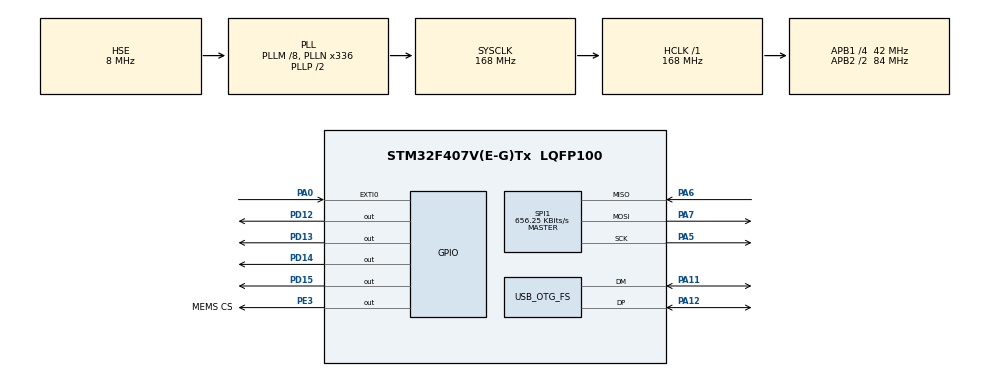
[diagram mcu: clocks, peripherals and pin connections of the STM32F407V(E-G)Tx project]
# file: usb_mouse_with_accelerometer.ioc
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Mcu.Family=STM32F4
Mcu.Name=STM32F407V(E-G)Tx
Mcu.Package=LQFP100
NVIC.EXTI0_IRQn=true\:0\:0\:false\:false\:true\:true\:true\:true
NVIC.OTG_FS_IRQn=true\:0\:0\:false\:false\:true\:false\:true\:true
NVIC.PriorityGroup=NVIC_PRIORITYGROUP_0
PA0-WKUP.Signal=GPXTI0
PA11.Mode=Device_Only
PA11.Signal=USB_OTG_FS_DM
PA12.Mode=Device_Only
PA12.Signal=USB_OTG_FS_DP
PA13.Mode=Serial_Wire
PA13.Signal=SYS_JTMS-SWDIO
PA14.Mode=Serial_Wire
PA14.Signal=SYS_JTCK-SWCLK
PA5.Mode=Full_Duplex_Master
PA5.Signal=SPI1_SCK
PA6.Mode=Full_Duplex_Master
PA6.Signal=SPI1_MISO
PA7.Mode=Full_Duplex_Master
PA7.Signal=SPI1_MOSI
PC14-OSC32_IN.Mode=LSE-External-Oscillator
PC14-OSC32_IN.Signal=RCC_OSC32_IN
PC15-OSC32_OUT.Mode=LSE-External-Oscillator
PC15-OSC32_OUT.Signal=RCC_OSC32_OUT
PD12.Signal=GPIO_Output
PD13.Signal=GPIO_Output
PD14.Signal=GPIO_Output
PD15.Signal=GPIO_Output
PE3.GPIO_Label=MEMS CS
PE3.Signal=GPIO_Output
PH0-OSC_IN.Mode=HSE-External-Oscillator
PH0-OSC_IN.Signal=RCC_OSC_IN
PH1-OSC_OUT.Mode=HSE-External-Oscillator
PH1-OSC_OUT.Signal=RCC_OSC_OUT
ProjectManager.HeapSize=0x200
ProjectManager.StackSize=0x400
ProjectManager.TargetToolchain=STM32CubeIDE
RCC.48MHZClocksFreq_Value=48000000
RCC.AHBFreq_Value=168000000
RCC.APB1CLKDivider=RCC_HCLK_DIV4
RCC.APB1Freq_Value=42000000
RCC.APB1TimFreq_Value=84000000
RCC.APB2CLKDivider=RCC_HCLK_DIV2
RCC.APB2Freq_Value=84000000
RCC.APB2TimFreq_Value=168000000
RCC.CortexFreq_Value=168000000
RCC.HCLKFreq_Value=168000000
RCC.HSE_VALUE=8000000
RCC.HSI_VALUE=16000000
RCC.PLLM=8
RCC.PLLN=336
RCC.PLLQ=7
RCC.SYSCLKFreq_VALUE=168000000
RCC.SYSCLKSource=RCC_SYSCLKSOURCE_PLLCLK
RCC.VCOOutputFreq_Value=336000000
SPI1.BaudRatePrescaler=SPI_BAUDRATEPRESCALER_128
SPI1.CalculateBaudRate=656.25 KBits/s
SPI1.Direction=SPI_DIRECTION_2LINES
SPI1.Mode=SPI_MODE_MASTER
SPI1.VirtualType=VM_MASTER
USB_DEVICE.CLASS_NAME_FS=HID
USB_DEVICE.PRODUCT_STRING_HID_FS=STM32 Mouse
USB_DEVICE.VirtualMode-HID_FS=Hid
USB_DEVICE.VirtualModeFS=Hid_FS
USB_OTG_FS.VirtualMode=Device_Only
VP_USB_DEVICE_VS_USB_DEVICE_HID_FS.Mode=HID_FS
board=STM32F407G-DISC1

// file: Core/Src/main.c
/* USER CODE BEGIN Header */
/**
  ******************************************************************************
  * @file           : main.c
  * @brief          : Main program body
  ******************************************************************************
  * @attention
  *
  * Copyright (c) 2024 STMicroelectronics.
  * All rights reserved.
  *
  * This software is licensed under terms that can be found in the LICENSE file
  * in the root directory of this software component.
  * If no LICENSE file comes with this software, it is provided AS-IS.
  *
  ******************************************************************************
  */
/* USER CODE END Header */
#include "main.h"
#include "usb_device.h"

/* USER CODE BEGIN Includes */
#include "MY_LIS3DSH.h"
#include "usbd_hid.h"
/* USER CODE END Includes */

SPI_HandleTypeDef hspi1;

/* USER CODE BEGIN PV */
LIS3DSH_DataScaled myAccData;
LIS3DSH_DataRaw myAccRawData;
int button_flag = 0;

extern USBD_HandleTypeDef hUsbDeviceFS;

typedef struct{
	uint8_t button;
	int8_t x;
	int8_t y;
	int8_t wheel;
} mouseHID;

mouseHID mousehid = {0,0,0,0};
int16_t min_xval = 128;
int16_t max_xval = -128;
int16_t min_yval = 128;
int16_t max_yval = -128;

int16_t newxval = 0;
int16_t newyval = 0;
/* USER CODE END PV */

void SystemClock_Config(void);
static void MX_GPIO_Init(void);
static void MX_SPI1_Init(void);

/* USER CODE BEGIN 0 */

//This function basically calculates the drift of IMU in x and y direction
void IMU_Calibrate (void)
{
	for (int i=0; i<50;)
	{
		if(LIS3DSH_PollDRDY(1000) == true){
			myAccRawData = LIS3DSH_GetDataRaw();
			min_xval = MIN(min_xval, myAccRawData.x);
			max_xval = MAX(max_xval, myAccRawData.x);
			min_yval = MIN(min_yval, myAccRawData.y);
			max_yval = MAX(max_yval, myAccRawData.y);
			HAL_Delay (10);
			i++;
		}
	}
	//Glow all leds to indicate calibration done
	HAL_GPIO_WritePin(GPIOD, GPIO_PIN_12, GPIO_PIN_SET);
	HAL_GPIO_WritePin(GPIOD, GPIO_PIN_13, GPIO_PIN_SET);
	HAL_GPIO_WritePin(GPIOD, GPIO_PIN_14, GPIO_PIN_SET);
	HAL_GPIO_WritePin(GPIOD, GPIO_PIN_15, GPIO_PIN_SET);
}
/* USER CODE END 0 */

int main(void)
{

  /* USER CODE BEGIN 1 */
	LIS3DSH_InitTypeDef myAccConfig;

  /* USER CODE END 1 */

  /* MCU Configuration--------------------------------------------------------*/

  /* Reset of all peripherals, Initializes the Flash interface and the Systick. */
  HAL_Init();

  /* Configure the system clock */
  SystemClock_Config();

  /* Initialize all configured peripherals */
  MX_GPIO_Init();
  MX_SPI1_Init();
  MX_USB_DEVICE_Init();
  /* USER CODE BEGIN 2 */
  myAccConfig.enableAxes = LIS3DSH_XYZ_ENABLE;
  myAccConfig.interruptEnable = true;
  myAccConfig.dataRate = LIS3DSH_DATARATE_12_5;
  myAccConfig.fullScale = LIS3DSH_FULLSCALE_2;
  myAccConfig.antiAliasingBW = LIS3DSH_FILTER_BW_50;
  LIS3DSH_Init(&hspi1,&myAccConfig);

  IMU_Calibrate();
  /* USER CODE END 2 */

  /* Infinite loop */
  while (1)
  {

    /* USER CODE BEGIN 3 */
	  if(LIS3DSH_PollDRDY(1000) == true){

		  myAccRawData = LIS3DSH_GetDataRaw();//Get the data from IMU

		  //check if outside drift range then eliminate the drift and store new value back in struct
		  if (myAccRawData.x < min_xval)
		   {
		     newxval = myAccRawData.x - min_xval;
		   }

		  else if (myAccRawData.x > max_xval)
		   {
		     newxval = myAccRawData.x - max_xval;
		   }

		  if (myAccRawData.y < min_yval)
		  {
		    newyval = myAccRawData.y - min_yval;
		  }

		  else if (myAccRawData.y > max_yval)
		  {
		   newyval = myAccRawData.y - max_yval;
		  }

		  myAccRawData.x = newxval;
		  myAccRawData.y = newyval;

		  //glow different leds to indicate the direction of tilt
		  if (myAccRawData.x > 1000){
			 HAL_GPIO_WritePin(GPIOD, GPIO_PIN_14, GPIO_PIN_SET);
			 HAL_GPIO_WritePin(GPIOD, GPIO_PIN_12, GPIO_PIN_RESET);
		  }
		  else if (myAccRawData.x < -1000){
			  HAL_GPIO_WritePin(GPIOD, GPIO_PIN_14, GPIO_PIN_RESET);
			  HAL_GPIO_WritePin(GPIOD, GPIO_PIN_12, GPIO_PIN_SET);
		  }
		  else{
			  HAL_GPIO_WritePin(GPIOD, GPIO_PIN_14, GPIO_PIN_RESET);
			  HAL_GPIO_WritePin(GPIOD, GPIO_PIN_12, GPIO_PIN_RESET);
		  }

		  if (myAccRawData.y > 1000){
			  HAL_GPIO_WritePin(GPIOD, GPIO_PIN_13, GPIO_PIN_SET);
			  HAL_GPIO_WritePin(GPIOD, GPIO_PIN_15, GPIO_PIN_RESET);
		  }
		  else if (myAccRawData.y < -1000){
			  HAL_GPIO_WritePin(GPIOD, GPIO_PIN_15, GPIO_PIN_SET);
			  HAL_GPIO_WritePin(GPIOD, GPIO_PIN_13, GPIO_PIN_RESET);
		  }
		  else{
			  HAL_GPIO_WritePin(GPIOD, GPIO_PIN_13, GPIO_PIN_RESET);
			  HAL_GPIO_WritePin(GPIOD, GPIO_PIN_15, GPIO_PIN_RESET);
		  }

		  //send the values to mouse object only if outside a range
		  if(myAccRawData.x > 1000 || myAccRawData.x < -1000){
			  mousehid.y = myAccRawData.x/70;
		  }
		  else mousehid.y = 0;

		  if(myAccRawData.y > 1000 || myAccRawData.y < -1000){
			  mousehid.x = myAccRawData.y/70;
		  }
		  else mousehid.x = 0;

		  //this checks the button flag set in ISR to replicate mouse click
		  if (button_flag == 1)
		  {
			  mousehid.button = 1;  // left click =1, right click =2
			  USBD_HID_SendReport(&hUsbDeviceFS, &mousehid, sizeof (mousehid));
			  HAL_Delay(50);
			  mousehid.button = 0;  // left click =1, right click =2
			  USBD_HID_SendReport(&hUsbDeviceFS, &mousehid, sizeof (mousehid));
			  button_flag = 0;
		  }

		  USBD_HID_SendReport(&hUsbDeviceFS, &mousehid, sizeof(mousehid));
		  newxval = 0;
		  newyval = 0;
		  HAL_Delay(10);
	  }
  }
  /* USER CODE END 3 */
}

void SystemClock_Config(void)
{
  RCC_OscInitTypeDef RCC_OscInitStruct = {0};
  RCC_ClkInitTypeDef RCC_ClkInitStruct = {0};

  /** Configure the main internal regulator output voltage
  */
  __HAL_RCC_PWR_CLK_ENABLE();
  __HAL_PWR_VOLTAGESCALING_CONFIG(PWR_REGULATOR_VOLTAGE_SCALE1);

  /** Initializes the RCC Oscillators according to the specified parameters
  * in the RCC_OscInitTypeDef structure.
  */
  RCC_OscInitStruct.OscillatorType = RCC_OSCILLATORTYPE_HSE;
  RCC_OscInitStruct.HSEState = RCC_HSE_ON;
  RCC_OscInitStruct.PLL.PLLState = RCC_PLL_ON;
  RCC_OscInitStruct.PLL.PLLSource = RCC_PLLSOURCE_HSE;
  RCC_OscInitStruct.PLL.PLLM = 8;
  RCC_OscInitStruct.PLL.PLLN = 336;
  RCC_OscInitStruct.PLL.PLLP = RCC_PLLP_DIV2;
  RCC_OscInitStruct.PLL.PLLQ = 7;
  if (HAL_RCC_OscConfig(&RCC_OscInitStruct) != HAL_OK)
  {
    Error_Handler();
  }

  /** Initializes the CPU, AHB and APB buses clocks
  */
  RCC_ClkInitStruct.ClockType = RCC_CLOCKTYPE_HCLK|RCC_CLOCKTYPE_SYSCLK
                              |RCC_CLOCKTYPE_PCLK1|RCC_CLOCKTYPE_PCLK2;
  RCC_ClkInitStruct.SYSCLKSource = RCC_SYSCLKSOURCE_PLLCLK;
  RCC_ClkInitStruct.AHBCLKDivider = RCC_SYSCLK_DIV1;
  RCC_ClkInitStruct.APB1CLKDivider = RCC_HCLK_DIV4;
  RCC_ClkInitStruct.APB2CLKDivider = RCC_HCLK_DIV2;

  if (HAL_RCC_ClockConfig(&RCC_ClkInitStruct, FLASH_LATENCY_5) != HAL_OK)
  {
    Error_Handler();
  }
}

static void MX_SPI1_Init(void)
{

  /* SPI1 parameter configuration*/
  hspi1.Instance = SPI1;
  hspi1.Init.Mode = SPI_MODE_MASTER;
  hspi1.Init.Direction = SPI_DIRECTION_2LINES;
  hspi1.Init.DataSize = SPI_DATASIZE_8BIT;
  hspi1.Init.CLKPolarity = SPI_POLARITY_LOW;
  hspi1.Init.CLKPhase = SPI_PHASE_1EDGE;
  hspi1.Init.NSS = SPI_NSS_SOFT;
  hspi1.Init.BaudRatePrescaler = SPI_BAUDRATEPRESCALER_128;
  hspi1.Init.FirstBit = SPI_FIRSTBIT_MSB;
  hspi1.Init.TIMode = SPI_TIMODE_DISABLE;
  hspi1.Init.CRCCalculation = SPI_CRCCALCULATION_DISABLE;
  hspi1.Init.CRCPolynomial = 10;
  if (HAL_SPI_Init(&hspi1) != HAL_OK)
  {
    Error_Handler();
  }

}

static void MX_GPIO_Init(void)
{
  GPIO_InitTypeDef GPIO_InitStruct = {0};

  /* GPIO Ports Clock Enable */
  __HAL_RCC_GPIOE_CLK_ENABLE();
  __HAL_RCC_GPIOC_CLK_ENABLE();
  __HAL_RCC_GPIOH_CLK_ENABLE();
  __HAL_RCC_GPIOA_CLK_ENABLE();
  __HAL_RCC_GPIOD_CLK_ENABLE();

  /*Configure GPIO pin Output Level */
  HAL_GPIO_WritePin(MEMS_CS_GPIO_Port, MEMS_CS_Pin, GPIO_PIN_RESET);

  /*Configure GPIO pin Output Level */
  HAL_GPIO_WritePin(GPIOD, GPIO_PIN_12|GPIO_PIN_13|GPIO_PIN_14|GPIO_PIN_15, GPIO_PIN_RESET);

  /*Configure GPIO pin : MEMS_CS_Pin */
  GPIO_InitStruct.Pin = MEMS_CS_Pin;
  GPIO_InitStruct.Mode = GPIO_MODE_OUTPUT_PP;
  GPIO_InitStruct.Pull = GPIO_NOPULL;
  GPIO_InitStruct.Speed = GPIO_SPEED_FREQ_LOW;
  HAL_GPIO_Init(MEMS_CS_GPIO_Port, &GPIO_InitStruct);

  /*Configure GPIO pin : PA0 */
  GPIO_InitStruct.Pin = GPIO_PIN_0;
  GPIO_InitStruct.Mode = GPIO_MODE_IT_RISING;
  GPIO_InitStruct.Pull = GPIO_NOPULL;
  HAL_GPIO_Init(GPIOA, &GPIO_InitStruct);

  /*Configure GPIO pins : PD12 PD13 PD14 PD15 */
  GPIO_InitStruct.Pin = GPIO_PIN_12|GPIO_PIN_13|GPIO_PIN_14|GPIO_PIN_15;
  GPIO_InitStruct.Mode = GPIO_MODE_OUTPUT_PP;
  GPIO_InitStruct.Pull = GPIO_NOPULL;
  GPIO_InitStruct.Speed = GPIO_SPEED_FREQ_LOW;
  HAL_GPIO_Init(GPIOD, &GPIO_InitStruct);

  /* EXTI interrupt init*/
  HAL_NVIC_SetPriority(EXTI0_IRQn, 0, 0);
  HAL_NVIC_EnableIRQ(EXTI0_IRQn);

}

/* USER CODE BEGIN 4 */
//interrupt for mouse button
void HAL_GPIO_EXTI_Callback(uint16_t GPIO_Pin)
{
	if (GPIO_Pin == GPIO_PIN_0)
	{
		button_flag = 1;
	}
}

/* USER CODE END 4 */

void Error_Handler(void)
{
  __disable_irq();
  while (1)
  {
  }
}
